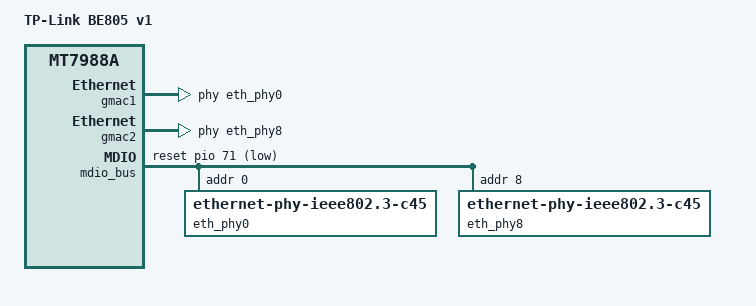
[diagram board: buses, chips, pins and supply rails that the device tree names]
// SPDX-License-Identifier: GPL-2.0-or-later OR MIT
// Author: Tuan Phan <pttuan@gmail.com>
// Author: Yanase Yuki <dev@zpc.st>
/dts-v1/;
#include "mt7988a-tplink-be805.dtsi"

/ {
	compatible = "tplink,be805-v1", "tplink,be805", "mediatek,mt7988a";
	model = "TP-Link BE805 v1";
};

&gmac1 {
	phy-handle = <&eth_phy0>;
	managed = "in-band-status";
};

&gmac2 {
	phy-handle = <&eth_phy8>;
	managed = "in-band-status";
};

&mdio_bus {
	reset-gpios = <&pio 71 GPIO_ACTIVE_LOW>;
	reset-delay-us = <100000>;
	reset-post-delay-us = <1000000>;
	clock-frequency = <10500000>;

	eth_phy0: ethernet-phy@0 {
		compatible = "ethernet-phy-ieee802.3-c45";
		reg = <0>;
		max-speed = <10000>;
		firmware-name = "Rhe-05.06-Candidate9-AQR_Mediatek_23B_P5_ID45824_LCLVER1.cld";
		marvell,mdi-cfg-order = <0>;
	};

	eth_phy8: ethernet-phy@8 {
		compatible = "ethernet-phy-ieee802.3-c45";
		reg = <8>;
		max-speed = <10000>;
		firmware-name = "Rhe-05.06-Candidate9-AQR_Mediatek_23B_P5_ID45824_LCLVER1.cld";
		marvell,mdi-cfg-order = <0>;
	};
};

